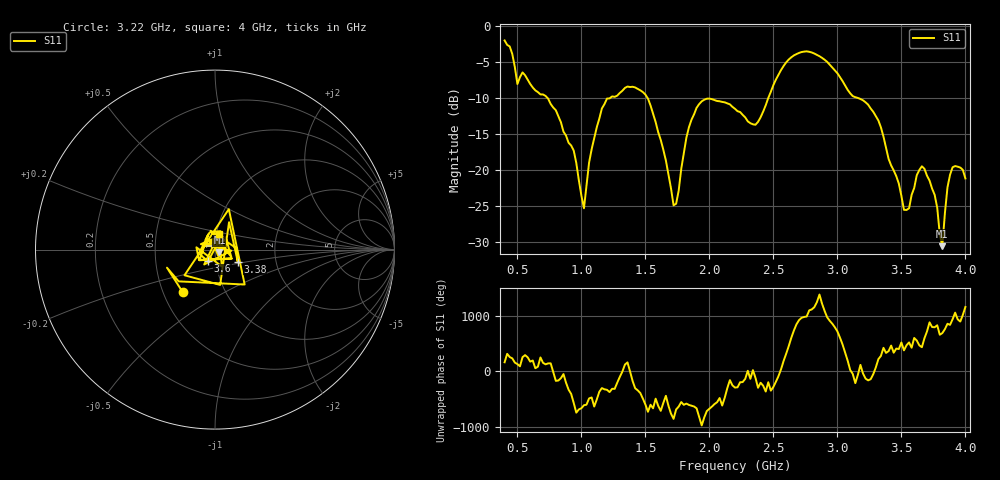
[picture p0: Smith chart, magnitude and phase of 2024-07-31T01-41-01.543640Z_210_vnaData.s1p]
!Created with skrf (http://scikit-rf.org).
# Hz S RI R 50.0
!freq ReS11 ImS11
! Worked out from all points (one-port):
!   181 points, 400 MHz to 4 GHz, reference 50 ohm
!   lowest |S11| = -30.6 dB at 3.82 GHz (marker M1), VSWR 1.06, Z = 52.5 - j1.69 ohm
!   |S11| at or under -10 dB: 738.1 MHz to 1.22 GHz (482.2 MHz wide, 49.2 % of centre); 1.519 GHz to 2.459 GHz (939.9 MHz wide, 47.3 % of centre); 3.169 GHz to end of sweep
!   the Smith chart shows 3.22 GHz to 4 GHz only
!   S11 on the Smith chart (normalised r, x): 3.22 GHz: 0.63, -0.32; 3.38 GHz: 1.28, -0.17; 3.6 GHz: 0.92, -0.12; 4 GHz: 1.03, +0.18
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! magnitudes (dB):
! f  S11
! 400 MHz  -1.9
! 500 MHz  -8.0
! 720 MHz  -9.7
! 860 MHz  -14.6
! 940 MHz  -17.3
! 1.02 GHz  -25.3
! 1.06 GHz  -18.9
! 1.16 GHz  -11.4
! 1.3 GHz  -9.2
! 1.52 GHz  -10.0
! 1.72 GHz  -24.9
! 1.76 GHz  -22.8
! 1.82 GHz  -15.5
! 1.9 GHz  -11.3
! 2.2 GHz  -11.5
! 2.36 GHz  -13.7
! 2.66 GHz  -4.0
! 3.1 GHz  -9.3
! 3.22 GHz  -10.5
! 3.38 GHz  -16.9
! 3.56 GHz  -25.3
! 3.6 GHz  -22.5
! 3.68 GHz  -19.8
! 3.76 GHz  -23.4
! 3.82 GHz  -30.6
! 3.86 GHz  -22.4
! 3.9 GHz  -19.6
! 4 GHz  -21.1
